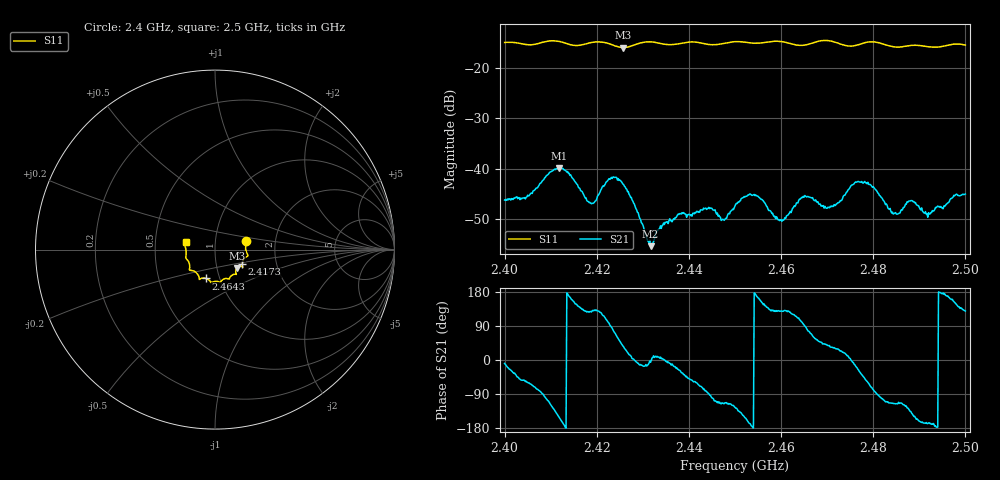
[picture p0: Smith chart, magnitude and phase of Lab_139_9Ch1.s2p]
# Hz S RI R 50
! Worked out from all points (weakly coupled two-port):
!   601 points, 2.4 GHz to 2.5 GHz, reference 50 ohm
!   highest |S21| = -39.84 dB at 2.4118 GHz (marker M1); lowest = -55.4 dB at 2.4317 GHz (marker M2)
!   lowest |S11| = -15.9 dB at 2.4257 GHz (marker M3), VSWR 1.38, Z = 62.5 - j13.1 ohm
!   |S11| at or under -10 dB: start of sweep to end of sweep
!   S12 and S22 are empty: the file has one direction only
!   S11 on the Smith chart (normalised r, x): 2.4 GHz: 1.41, +0.14; 2.4173 GHz: 1.34, -0.23; 2.4643 GHz: 0.86, -0.28; 2.5 GHz: 0.72, +0.06
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2.4e9  0.173 0.0495  0.00482 -0.000764  0 0  0 0
2.404833e9  0.1704 0.0159  0.00274 -0.00447  0 0  0 0
2.411833e9  0.1806 -0.0366  -0.00893 -0.00489  0 0  0 0
2.416667e9  0.1527 -0.0744  -0.0043 0.00416  0 0  0 0
2.417333e9  0.1521 -0.0818  -0.00344 0.00406  0 0  0 0
2.419167e9  0.1535 -0.0953  -0.00295 0.0034  0 0  0 0
2.425667e9  0.123 -0.1024  0.0056 0.00423  0 0  0 0
2.431667e9  0.1191 -0.1384  0.00169 -0.000178  0 0  0 0
2.433333e9  0.1129 -0.137  0.00244 0.000338  0 0  0 0
2.443667e9  0.0656 -0.1608  0.000609 -0.00401  0 0  0 0
2.4475e9  0.038 -0.1717  -0.00131 -0.00282  0 0  0 0
2.45e9  0.0294 -0.1808  -0.00242 -0.00349  0 0  0 0
2.4545e9  0.00597 -0.1765  -0.00542 0.000726  0 0  0 0
2.460167e9  -0.0241 -0.1819  -0.00189 0.00232  0 0  0 0
2.464333e9  -0.0501 -0.1606  -0.00105 0.00499  0 0  0 0
2.466667e9  -0.0757 -0.1598  0.00198 0.00471  0 0  0 0
2.470833e9  -0.0873 -0.1642  0.00347 0.00234  0 0  0 0
2.477833e9  -0.134 -0.1157  0.00519 -0.00497  0 0  0 0
2.483333e9  -0.1408 -0.0898  -0.00156 -0.00366  0 0  0 0
2.488333e9  -0.161 -0.0491  -0.0037 -0.00308  0 0  0 0
2.492e9  -0.1609 -0.0254  -0.00354 -0.000876  0 0  0 0
2.5e9  -0.164 0.0423  -0.00353 0.00434  0 0  0 0
